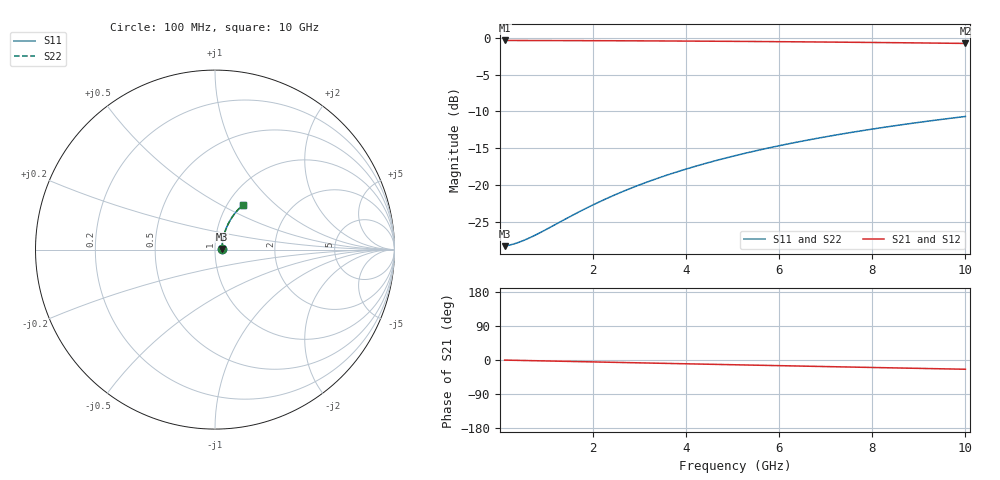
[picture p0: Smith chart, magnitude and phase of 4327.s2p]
# Hz S RI R 50.00
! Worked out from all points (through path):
!   100 points, 100 MHz to 10 GHz, reference 50 ohm
!   highest |S21| = -0.34 dB at 100 MHz (marker M1); lowest = -0.7 dB at 10 GHz (marker M2)
!   group delay of S21, straight-line fit = 6.79 ps
!   lowest |S11| = -28.4 dB at 100 MHz (marker M3), VSWR 1.08, Z = 54 + j0.315 ohm
!   |S11| at or under -10 dB: start of sweep to end of sweep
!   |S22| runs from -28.4 to -10.7 dB; largest |S21 - S12| = 0
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1e8  0.0381 0.00291  0.9619 -0.00422  0.9619 -0.00422  0.0381 0.00291
3e8  0.0386 0.00873  0.9614 -0.0127  0.9614 -0.0127  0.0386 0.00873
4e8  0.0389 0.0116  0.9611 -0.0169  0.9611 -0.0169  0.0389 0.0116
6e8  0.0393 0.0174  0.9606 -0.0253  0.9606 -0.0253  0.0393 0.0174
9e8  0.0402 0.0261  0.9597 -0.0379  0.9597 -0.0379  0.0402 0.0261
1.5e9  0.0424 0.0434  0.9574 -0.063  0.9574 -0.063  0.0424 0.0434
1.8e9  0.0438 0.0519  0.9559 -0.0755  0.9559 -0.0755  0.0438 0.0519
2.2e9  0.046 0.0633  0.9536 -0.0921  0.9536 -0.0921  0.046 0.0633
2.6e9  0.0486 0.0745  0.9508 -0.1086  0.9508 -0.1086  0.0486 0.0745
3e9  0.0515 0.0857  0.9477 -0.125  0.9477 -0.125  0.0515 0.0857
3.4e9  0.0548 0.0967  0.9441 -0.1413  0.9441 -0.1413  0.0548 0.0967
3.8e9  0.0585 0.1075  0.9402 -0.1574  0.9402 -0.1574  0.0585 0.1075
4.2e9  0.0625 0.1182  0.9359 -0.1734  0.9359 -0.1734  0.0625 0.1182
4.6e9  0.0669 0.1287  0.9312 -0.1891  0.9312 -0.1891  0.0669 0.1287
5.1e9  0.0729 0.1416  0.9248 -0.2086  0.9248 -0.2086  0.0729 0.1416
5.5e9  0.078 0.1517  0.9193 -0.2239  0.9193 -0.2239  0.078 0.1517
5.9e9  0.0834 0.1615  0.9134 -0.2391  0.9134 -0.2391  0.0834 0.1615
6.7e9  0.0953 0.1805  0.9007 -0.2686  0.9007 -0.2686  0.0953 0.1805
7.5e9  0.1082 0.1985  0.8867 -0.2972  0.8867 -0.2972  0.1082 0.1985
8.4e9  0.1241 0.2175  0.8696 -0.3281  0.8696 -0.3281  0.1241 0.2175
9.2e9  0.1391 0.2331  0.8533 -0.3544  0.8533 -0.3544  0.1391 0.2331
1e10  0.155 0.2476  0.836 -0.3795  0.836 -0.3795  0.155 0.2476
